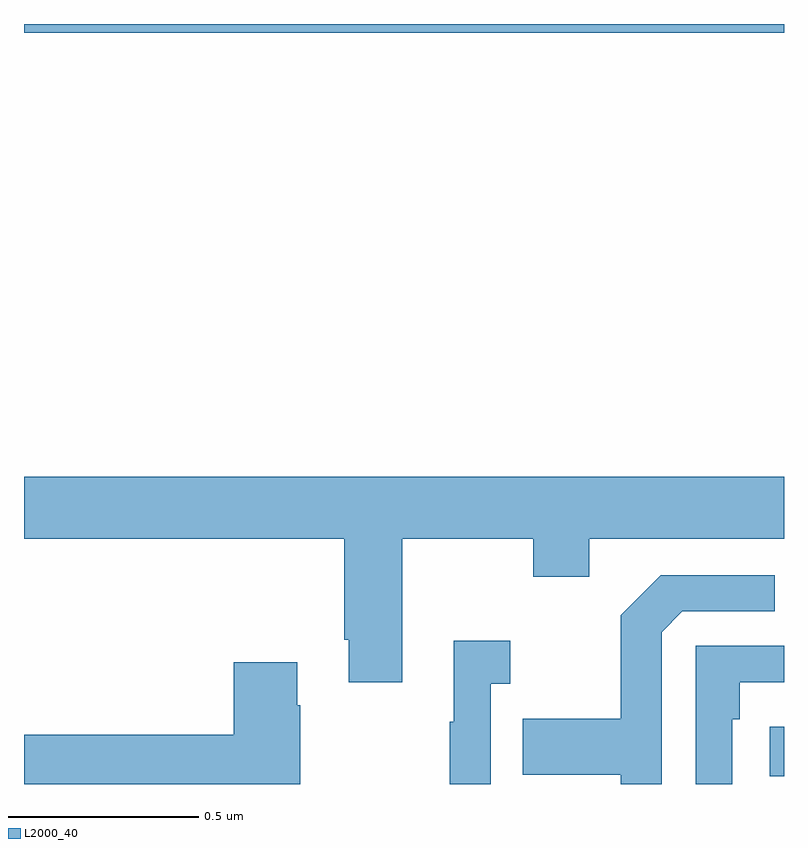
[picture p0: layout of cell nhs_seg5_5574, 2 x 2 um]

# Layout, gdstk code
import gdstk
lib = gdstk.Library(unit=1e-6, precision=1e-09)
def R(c, l, rs):  # rectangles x0, y0, x1, y1
    for r in rs: c.add(gdstk.rectangle(r[:2], r[2:], *l))
def P(c, l, *ps):  # polygons
    for p in ps: c.add(gdstk.Polygon(p, *l))
L2000_40 = (2000, 40)

nhs_seg5_5574 = lib.new_cell('nhs_seg5_5574')
R(nhs_seg5_5574, L2000_40, [(186.963,838.82,187,838.95), (185,840.776,187,840.799)])
P(nhs_seg5_5574, L2000_40, [(185.995,839.444),(186.34,839.444),(186.34,839.345),(186.487,839.345),(186.487,839.444),(187,839.444),(187,839.608),(185,839.608),(185,839.444),(185.843,839.444),(185.843,839.179),(185.855,839.179),(185.855,839.067),(185.995,839.067)],
  [(186.678,839.199),(186.732,839.253),(186.976,839.253),(186.976,839.349),(186.675,839.349),(186.57,839.243),(186.57,838.971),(186.313,838.971),(186.313,838.823),(186.57,838.823),(186.57,838.799),(186.678,838.799)],
  [(186.228,839.063),(186.28,839.063),(186.28,839.176),(186.131,839.176),(186.131,838.963),(186.12,838.963),(186.12,838.799),(186.228,838.799)],
  [(186.864,838.97),(186.884,838.97),(186.884,839.067),(187,839.067),(187,839.163),(186.768,839.163),(186.768,838.799),(186.864,838.799)],
  [(185.727,839.006),(185.719,839.006),(185.719,839.119),(185.552,839.119),(185.552,838.928),(185,838.928),(185,838.799),(185.727,838.799)])

lib.write_gds('nhs_seg5_5574.gds')
